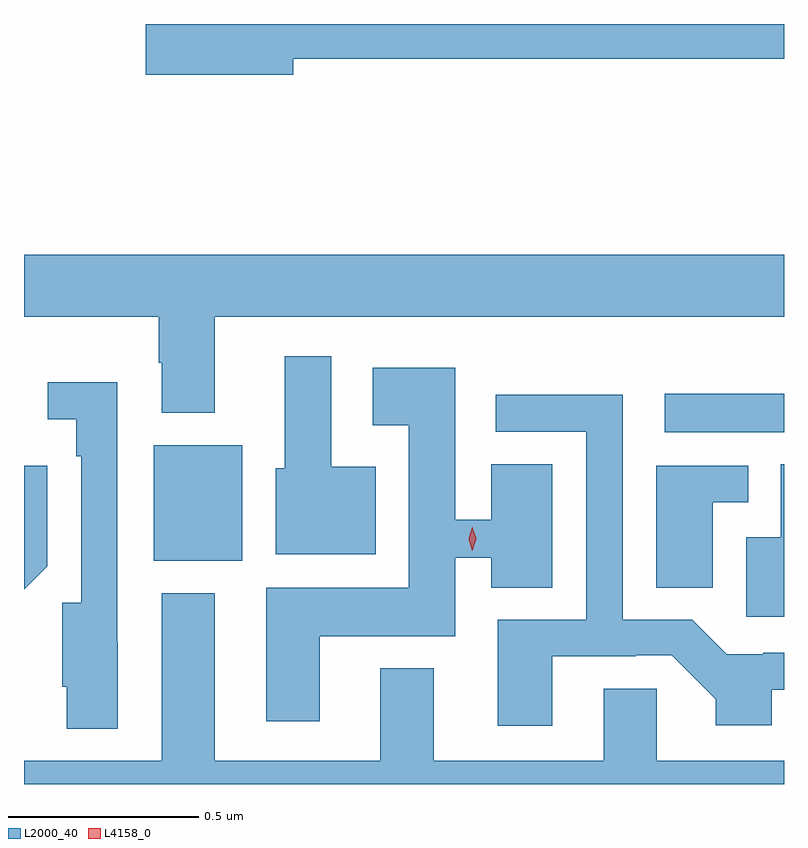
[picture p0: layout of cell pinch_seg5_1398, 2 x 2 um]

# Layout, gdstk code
import gdstk
lib = gdstk.Library(unit=1e-6, precision=1e-09)
def R(c, l, rs):  # rectangles x0, y0, x1, y1
    for r in rs: c.add(gdstk.rectangle(r[:2], r[2:], *l))
def P(c, l, *ps):  # polygons
    for p in ps: c.add(gdstk.Polygon(p, *l))
L2000_40 = (2000, 40)
L4158_0 = (4158, 0)

pinch_seg5_1398 = lib.new_cell('pinch_seg5_1398')
R(pinch_seg5_1398, L2000_40, [(263.924,888.086,264.157,888.391), (265.269,888.425,265.583,888.526)])
P(pinch_seg5_1398, L2000_40, [(264.292,889.408),(265.583,889.408),(265.583,889.499),(263.904,889.499),(263.904,889.366),(264.292,889.366)],
  [(264.085,888.728),(265.583,888.728),(265.583,888.892),(263.583,888.892),(263.583,888.728),(263.938,888.728),(263.938,888.608),(263.945,888.608),(263.945,888.476),(264.085,888.476)],
  [(264.508,888.334),(264.391,888.334),(264.391,888.625),(264.269,888.625),(264.269,888.33),(264.245,888.33),(264.245,888.104),(264.508,888.104)],
  [(264.361,887.888),(264.718,887.888),(264.718,888.095),(264.812,888.095),(264.812,888.016),(264.973,888.016),(264.973,888.341),(264.812,888.341),(264.812,888.195),(264.718,888.195),(264.718,888.595),(264.501,888.595),(264.501,888.443),(264.596,888.443),(264.596,888.016),(264.221,888.016),(264.221,887.664),(264.361,887.664)],
  [(263.83,887.873),(263.829,887.873),(263.829,888.556),(263.646,888.556),(263.646,888.459),(263.721,888.459),(263.721,888.362),(263.733,888.362),(263.733,887.976),(263.684,887.976),(263.684,887.755),(263.696,887.755),(263.696,887.645),(263.83,887.645)],
  [(264.973,887.835),(265.193,887.835),(265.193,887.838),(265.287,887.838),(265.403,887.722),(265.403,887.654),(265.551,887.654),(265.551,887.747),(265.583,887.747),(265.583,887.844),(265.528,887.844),(265.528,887.841),(265.432,887.841),(265.342,887.931),(265.158,887.931),(265.158,888.524),(264.825,888.524),(264.825,888.426),(265.062,888.426),(265.062,887.931),(264.83,887.931),(264.83,887.652),(264.973,887.652)],
  [(265.583,888.34),(265.574,888.34),(265.574,888.148),(265.484,888.148),(265.484,887.939),(265.583,887.939)],
  [(263.644,888.072),(263.644,888.337),(263.583,888.337),(263.583,888.011)],
  [(265.396,888.24),(265.489,888.24),(265.489,888.336),(265.247,888.336),(265.247,888.016),(265.396,888.016)],
  [(265.583,887.56),(265.248,887.56),(265.248,887.75),(265.109,887.75),(265.109,887.56),(264.661,887.56),(264.661,887.803),(264.521,887.803),(264.521,887.56),(264.085,887.56),(264.085,888.001),(263.945,888.001),(263.945,887.56),(263.583,887.56),(263.583,887.499),(265.583,887.499)])
P(pinch_seg5_1398, L4158_0, [(264.762,888.113),(264.762,888.113),(264.753,888.144),(264.763,888.175),(264.763,888.176),(264.763,888.175),(264.773,888.144),(264.763,888.113)])

lib.write_gds('pinch_seg5_1398.gds')
